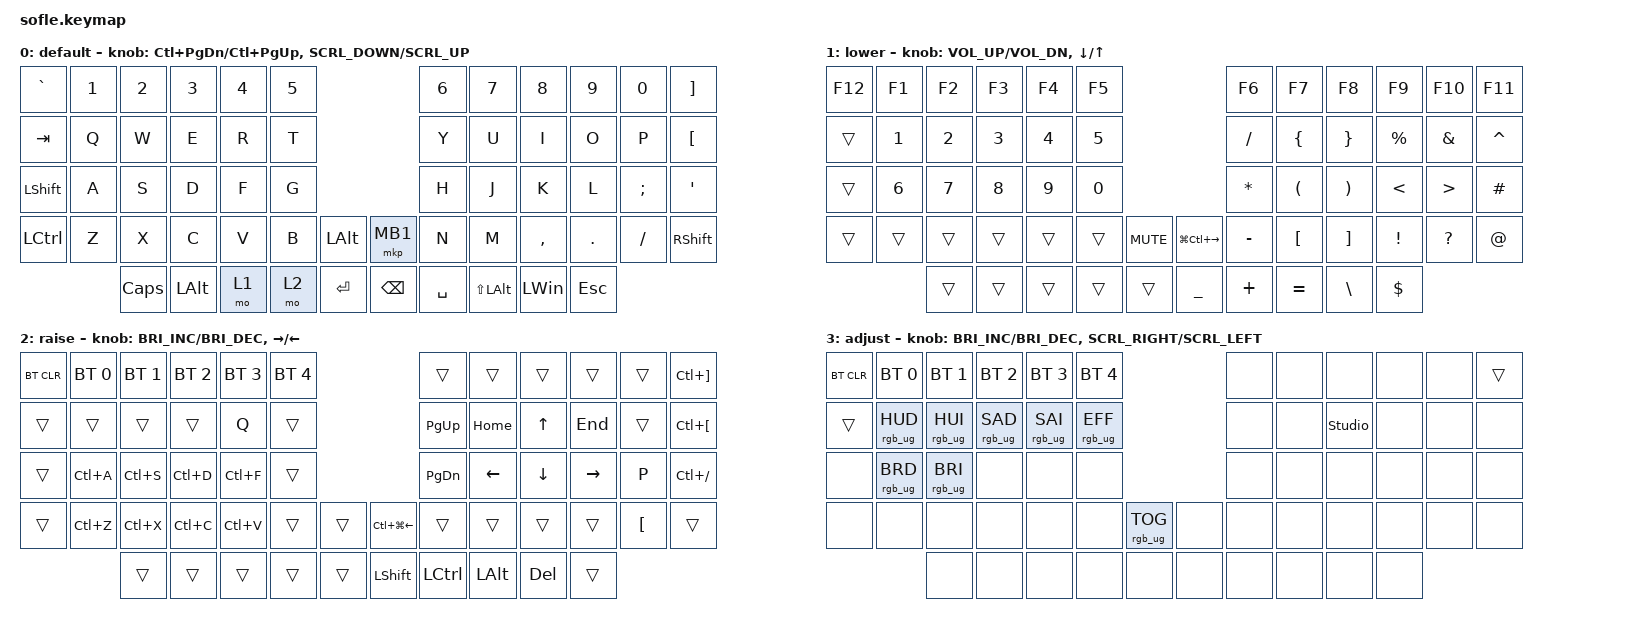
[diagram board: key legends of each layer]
/*
 * Copyright (c) 2020 The ZMK Contributors
 *
 * SPDX-License-Identifier: MIT
 */

#include <behaviors.dtsi>
#include <dt-bindings/zmk/bt.h>
#include <dt-bindings/zmk/keys.h>
#include <dt-bindings/zmk/pointing.h>
#include <dt-bindings/zmk/rgb.h>

#define ZMK_POINTING_DEFAULT_SCRL_VAL 100
#define BASE 0
#define LOWER 1
#define RAISE 2
#define ADJUST 3

/ {
    // Activate ADJUST layer by pressing raise and lower

    conditional_layers {
        compatible = "zmk,conditional-layers";

        adjust_layer {
            if-layers = <1 2>;
            then-layer = <3>;
        };
    };

    sensors: sensors {
        compatible = "zmk,keymap-sensors";
        sensors = <&left_encoder &right_encoder>;
        triggers-per-rotation = <15>;
    };

    left_encoder: encoder_left { steps = <30>; };

    right_encoder: encoder_right { steps = <30>; };

    behaviors {
        rot_msc: sensor_rotate_msc {
            compatible = "zmk,behavior-sensor-rotate-var";
            #sensor-binding-cells = <2>;
            bindings = <&msc>, <&msc>;

            tap-ms = <20>;
        };
    };

    keymap {
        compatible = "zmk,keymap";

        default_layer {
            display-name = "default";

            // ------------------------------------------------------------------------------------------------------------
            // |   `   |  1  |  2  |  3   |  4   |  5   |                   |  6   |  7    |  8    |  9   |   0   |       |
            // |  ESC  |  Q  |  W  |  E   |  R   |  T   |                   |  Y   |  U    |  I    |  O   |   P   | BKSPC |
            // |  TAB  |  A  |  S  |  D   |  F   |  G   |                   |  H   |  J    |  K    |  L   |   ;   |   '   |
            // | SHIFT |  Z  |  X  |  C   |  V   |  B   |  MUTE  |  |       |  N   |  M    |  ,    |  .   |   /   | SHIFT |
            //               | GUI | ALT  | CTRL | LOWER|  ENTER |  | SPACE | RAISE| CTRL  | ALT   | GUI  |

            bindings = <
&kp GRAVE         &kp N1  &kp N2    &kp N3    &kp N4  &kp N5                                 &kp N6     &kp N7            &kp N8        &kp N9      &kp N0    &kp RIGHT_BRACKET
&kp TAB           &kp Q   &kp W     &kp E     &kp R   &kp T                                  &kp Y      &kp U             &kp I         &kp O       &kp P     &kp LEFT_BRACKET
&kp LEFT_SHIFT    &kp A   &kp S     &kp D     &kp F   &kp G                                  &kp H      &kp J             &kp K         &kp L       &kp SEMI  &kp SQT
&kp LEFT_CONTROL  &kp Z   &kp X     &kp C     &kp V   &kp B   &kp LEFT_ALT    &mkp MB1       &kp N      &kp M             &kp COMMA     &kp DOT     &kp FSLH  &kp RSHFT
                          &kp CAPS  &kp LALT  &mo 1   &mo 2   &kp ENTER       &kp BACKSPACE  &kp SPACE  &kp LS(LEFT_ALT)  &kp LEFT_WIN  &kp ESCAPE
            >;

            sensor-bindings =
                <&inc_dec_kp LC(PAGE_DOWN) LC(PAGE_UP)>,
                <&rot_msc SCRL_DOWN SCRL_UP>;
        };

        lower_layer {
            display-name = "lower";

            // TODO: Some binds are waiting for shifted keycode support.
            // ------------------------------------------------------------------------------------------------------------
            // |       |  F1 |  F2 |  F3  |  F4  |  F5  |                   |  F6  |  F7   |  F8   |  F9  |  F10  |  F11  |
            // |   `   |  1  |  2  |  3   |  4   |  5   |                   |  6   |  7    |  8    |  9   |   0   |  F12  |
            // |       |  !  |  @  |  #   |  $   |  %   |                   |  ^   |  &    |  *    |  (   |   )   |   |   |
            // |       |  =  |  -  |  +   |  {   |  }   |        |  |       |  [   |  ]    |  ;    |  :   |   \   |       |
            //               |     |      |      |      |        |  |       |      |       |       |      |

            bindings = <
&kp F12  &kp F1        &kp F2  &kp F3  &kp F4  &kp F5                                   &kp F6        &kp F7                &kp F8                 &kp F9           &kp F10           &kp F11
&trans   &kp N1        &kp N2  &kp N3  &kp N4  &kp N5                                   &kp SLASH     &kp LEFT_BRACE        &kp RIGHT_BRACE        &kp PERCENT      &kp AMPERSAND     &kp CARET
&trans   &kp NUMBER_6  &kp N7  &kp N8  &kp N9  &kp N0                                   &kp ASTERISK  &kp LEFT_PARENTHESIS  &kp RIGHT_PARENTHESIS  &kp LESS_THAN    &kp GREATER_THAN  &kp HASH
&trans   &trans        &trans  &trans  &trans  &trans  &kp C_MUTE    &kp LG(LC(RIGHT))  &kp MINUS     &kp LEFT_BRACKET      &kp RIGHT_BRACKET      &kp EXCLAMATION  &kp QUESTION      &kp AT_SIGN
                       &trans  &trans  &trans  &trans  &trans        &kp UNDERSCORE     &kp PLUS      &kp EQUAL             &kp BACKSLASH          &kp DOLLAR
            >;

            sensor-bindings =
                <&inc_dec_kp C_VOL_UP C_VOL_DN>,
                <&inc_dec_kp DOWN UP>;
        };

        raise_layer {
            display-name = "raise";

            // ------------------------------------------------------------------------------------------------------------
            // | BTCLR | BT1  | BT2  |  BT3  |  BT4  |  BT5 |                |      |      |       |      |       |       |
            // |       | INS  | PSCR | GUI   |       |      |                | PGUP |      |   ^   |      |       |       |
            // |       | ALT  | CTRL | SHIFT |       | CAPS |                | PGDN |   <- |   v   |  ->  |  DEL  | BKSPC |
            // |       | UNDO | CUT  | COPY  | PASTE |      |      |  |      |      |      |       |      |       |       |
            //                |      |       |       |      |      |  |      |      |      |       |      |

            bindings = <
&bt BT_CLR  &bt BT_SEL 0  &bt BT_SEL 1  &bt BT_SEL 2  &bt BT_SEL 3  &bt BT_SEL 4                              &trans            &trans        &trans      &trans     &trans            &kp LC(RIGHT_BRACKET)
&trans      &trans        &trans        &trans        &kp Q         &trans                                    &kp PG_UP         &kp HOME      &kp UP      &kp END    &trans            &kp LC(LEFT_BRACKET)
&trans      &kp LC(A)     &kp LC(S)     &kp LC(D)     &kp LC(F)     &trans                                    &kp PG_DN         &kp LEFT      &kp DOWN    &kp RIGHT  &kp P             &kp LC(SLASH)
&trans      &kp LC(Z)     &kp LC(X)     &kp LC(C)     &kp LC(V)     &trans        &trans    &kp LC(LG(LEFT))  &trans            &trans        &trans      &trans     &kp LEFT_BRACKET  &trans
                          &trans        &trans        &trans        &trans        &trans    &kp LEFT_SHIFT    &kp LEFT_CONTROL  &kp LEFT_ALT  &kp DELETE  &trans
            >;

            sensor-bindings =
                <&inc_dec_kp C_BRIGHTNESS_INC C_BRIGHTNESS_DEC>,
                <&inc_dec_kp RIGHT LEFT_ARROW>;
        };

        adjust_layer {
            // ----------------------------------------------------------------------------------------------------------------------------
            // | BTCLR  |  BT1    |  BT2    |   BT3   |   BT4   |   BT5   |                  |      |      |       |      |       |       |
            // | EXTPWR | RGB_HUD | RGB_HUI | RGB_SAD | RGB_SAI | RGB_EFF |                  |      |      |       |      |       |       |
            // |        | RGB_BRD | RGB_BRI |         |         |         |                  |      |      |       |      |       |       |
            // |        |         |         |         |         |         | RGB_TOG | |      |      |      |       |      |       |       |
            //                    |         |         |         |         |         | |      |      |      |       |      |

            display-name = "adjust";
            bindings = <
&bt BT_CLR  &bt BT_SEL 0     &bt BT_SEL 1     &bt BT_SEL 2     &bt BT_SEL 3     &bt BT_SEL 4                               &none  &none  &none           &none  &none  &trans
&trans      &rgb_ug RGB_HUD  &rgb_ug RGB_HUI  &rgb_ug RGB_SAD  &rgb_ug RGB_SAI  &rgb_ug RGB_EFF                            &none  &none  &studio_unlock  &none  &none  &none
&none       &rgb_ug RGB_BRD  &rgb_ug RGB_BRI  &none            &none            &none                                      &none  &none  &none           &none  &none  &none
&none       &none            &none            &none            &none            &none            &rgb_ug RGB_TOG    &none  &none  &none  &none           &none  &none  &none
                             &none            &none            &none            &none            &none              &none  &none  &none  &none           &none
            >;

            sensor-bindings =
                <&inc_dec_kp C_BRIGHTNESS_INC C_BRIGHTNESS_DEC>,
                <&rot_msc SCRL_RIGHT SCRL_LEFT>;
        };
    };
};
